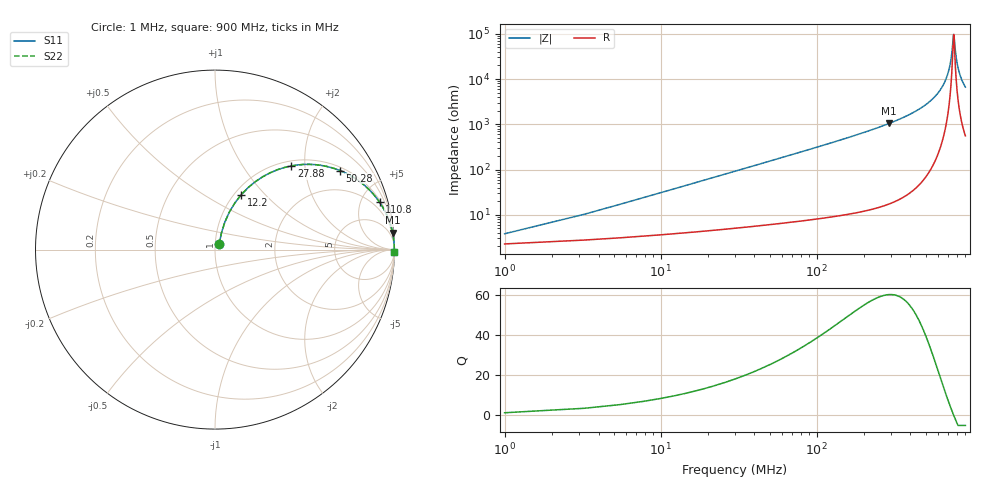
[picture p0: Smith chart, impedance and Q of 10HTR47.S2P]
! Coilcraft 1008HT-R47 Chip Inductor
! 16 July 2002
# MHZ S MA R 50
!Freq  MagS11  AngS11  MagS21  AngS21  MagS12  AngS12  MagS22  AngS22
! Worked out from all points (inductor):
!   403 points, 1 MHz to 900 MHz, reference 50 ohm
!   read as one part in series: L = 485 nH near 5.48 MHz
!   highest Q = 60.4 at 292.2 MHz (marker M1), where L = 570 nH
!   self-resonance near 755.9 MHz
!   S11 on the Smith chart (normalised r, x): 1 MHz: 1.05, +0.06; 12.2 MHz: 1.08, +0.74; 27.88 MHz: 1.10, +1.70; 50.28 MHz: 1.12, +3.08; 110.8 MHz: 1.17, +6.90; 900 MHz: open
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1  0.03711 51.7  0.9774 -1.7  0.9774 -1.7  0.03711 51.7
7.72  0.2242 69.1  0.9434 -12.8  0.9434 -12.8  0.2242 69.1
12.2  0.339 64.5  0.907 -19.7  0.907 -19.7  0.339 64.5
18.92  0.4853 56.8  0.8388 -28.9  0.8388 -28.9  0.4853 56.8
27.88  0.6309 47.7  0.7404 -39.0  0.7404 -39.0  0.6309 47.7
50.28  0.8241 32.3  0.535 -55.4  0.535 -55.4  0.8241 32.3
74.92  0.9074 23.2  0.3934 -65.1  0.3934 -65.1  0.9074 23.2
110.76  0.9543 16.1  0.2766 -72.5  0.2766 -72.5  0.9543 16.1
151.08  0.9749 11.7  0.2033 -77.1  0.2033 -77.1  0.9749 11.7
292.2  0.9939 5.5  0.09501 -83.6  0.09501 -83.6  0.9939 5.5
301.16  0.9943 5.2  0.09122 -83.8  0.09122 -83.8  0.9943 5.2
451.24  0.9979 2.7  0.04683 -86.1  0.04683 -86.1  0.9979 2.7
601.32  0.9989 1.2  0.02019 -86.3  0.02019 -86.3  0.9989 1.2
659.56  0.999 0.7  0.01207 -84.9  0.01207 -84.9  0.999 0.7
702.12  0.999 0.4  0.006663 -81.3  0.006663 -81.3  0.999 0.4
729  0.999 0.2  0.003482 -73.2  0.003482 -73.2  0.999 0.2
751.4  0.999 0.0  0.001249 -35.1  0.001249 -35.1  0.999 0.0
760.36  0.999 -0.0  0.001078 16.6  0.001078 16.6  0.999 -0.0
785  0.9989 -0.2  0.003246 70.7  0.003246 70.7  0.9989 -0.2
814.12  0.9989 -0.4  0.006319 79.5  0.006319 79.5  0.9989 -0.4
852.2  0.9988 -0.6  0.01026 82.9  0.01026 82.9  0.9988 -0.6
900  0.9986 -0.9  0.01501 84.4  0.01501 84.4  0.9986 -0.9
